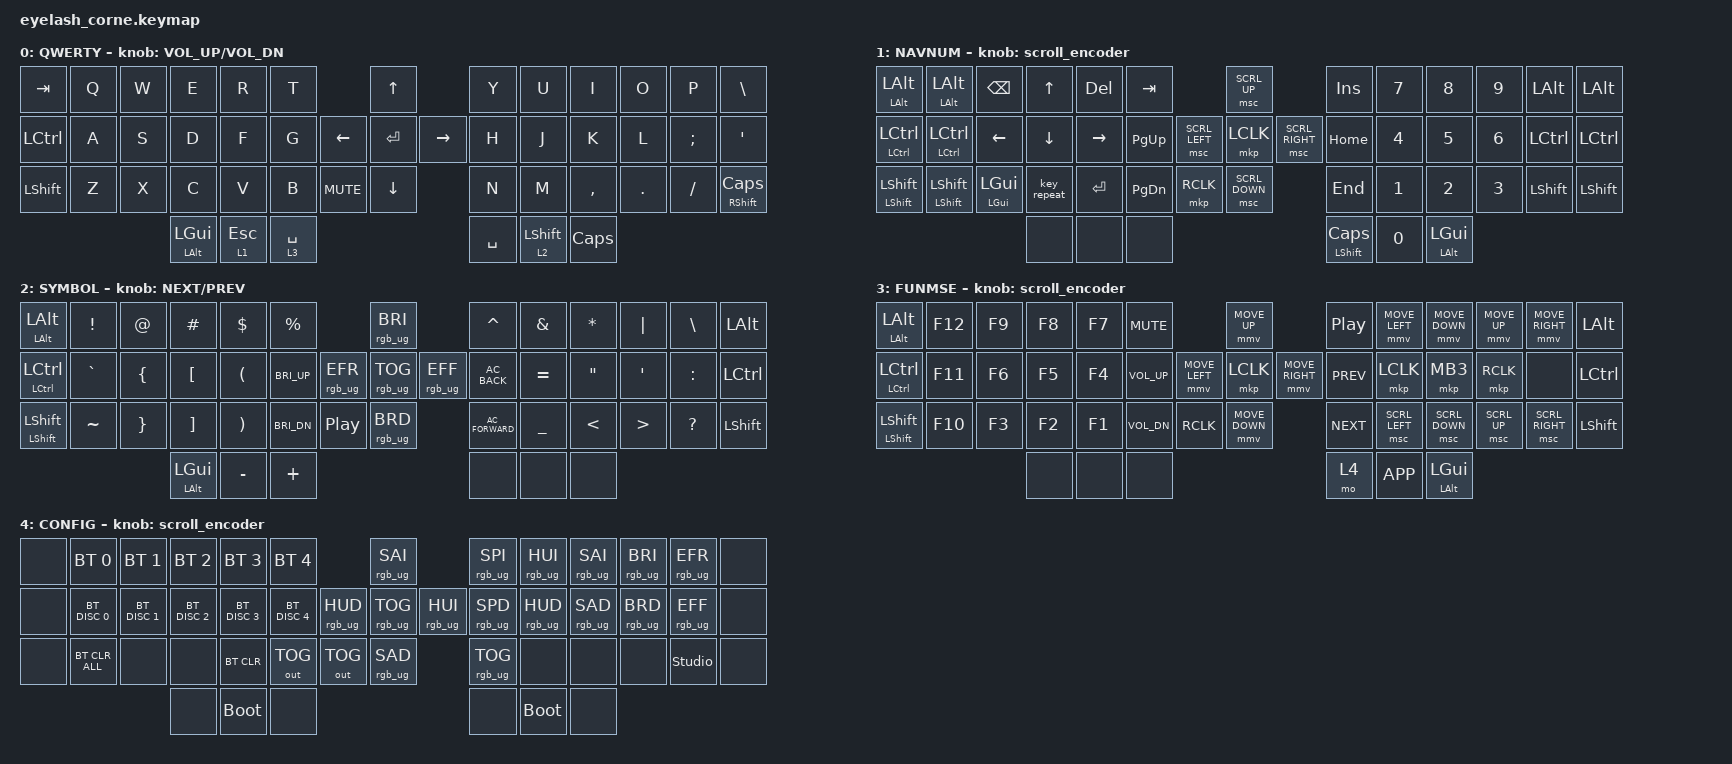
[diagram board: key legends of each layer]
/* spellchecker:disable */
#include <behaviors/mouse_keys.dtsi>
#include <behaviors.dtsi>
#include <dt-bindings/zmk/backlight.h>
#include <dt-bindings/zmk/bt.h>
#include <dt-bindings/zmk/ext_power.h>
#include <dt-bindings/zmk/keys.h>
#include <dt-bindings/zmk/mouse.h>
#include <dt-bindings/zmk/outputs.h>
#include <dt-bindings/zmk/rgb.h>

// #define ZMK_MOUSE_DEFAULT_MOVE_VAL 800  // 600
// #define ZMK_MOUSE_DEFAULT_SCRL_VAL 20   // 10

&lt {
    flavor = "hold-preferred";
};


&sk {
    release-after-ms = <4000>;
    quick-release;
    lazy;
};


/ {
    rgb_encoder: rgb_encoder {
        compatible = "zmk,behavior-sensor-rotate";
        label = "RGB_ENCODER";
        #sensor-binding-cells = <0>;
        bindings = <&rgb_ug RGB_BRI>, <&rgb_ug RGB_BRD>;
    };
    scroll_encoder: scroll_encoder  {
        compatible = "zmk,behavior-sensor-rotate";
        #sensor-binding-cells = <0>;
        bindings = <&msc SCRL_DOWN>, <&msc SCRL_UP>;
        tap-ms = <30>;
    };
    behaviors {
        // mmv {
        //     acceleration-exponent = <0>;      // 1
        //     time-to-max-speed-ms = <900>;    // 40
        //     delay-ms = <0>;                   // 0
        // };
        // msc {
        //     acceleration-exponent = <1>;      // 0      
        //     time-to-max-speed-ms = <400>;      // 500
        //     delay-ms = <0>;                   // 10
        // };
        // lclk_rclk: lclk_rclk    { bindings = <&mkp LCLK>, <&mkp RCLK>; compatible = "zmk,behavior-tap-dance"; #binding-cells = <0>; };
        lsk: layer_sticky_key   { bindings = <&mo>, <&sk>;        compatible = "zmk,behavior-hold-tap"; #binding-cells = <2>; flavor = "hold-preferred"; tapping-term-ms = <200>; };
        lsl: layer_sticky_layer { bindings = <&mo>, <&sl>;        compatible = "zmk,behavior-hold-tap"; #binding-cells = <2>; flavor = "hold-preferred"; tapping-term-ms = <200>; };
        lmk: layer_mouse_key    { bindings = <&mo>, <&mkp>;       compatible = "zmk,behavior-hold-tap"; #binding-cells = <2>; flavor = "hold-preferred"; tapping-term-ms = <200>; };
        lcw: layer_caps_word    { bindings = <&mo>, <&caps_word>; compatible = "zmk,behavior-hold-tap"; #binding-cells = <2>; flavor = "hold-preferred"; tapping-term-ms = <200>; };
        hsk: hold_sticky_key    { bindings = <&kp>, <&sk>;        compatible = "zmk,behavior-hold-tap"; #binding-cells = <2>; flavor = "hold-preferred"; tapping-term-ms = <200>; };
        hsl: hold_sticky_layer  { bindings = <&kp>, <&sl>;        compatible = "zmk,behavior-hold-tap"; #binding-cells = <2>; flavor = "hold-preferred"; tapping-term-ms = <200>; };
        hmk: hold_mouse_key     { bindings = <&kp>, <&mkp>;       compatible = "zmk,behavior-hold-tap"; #binding-cells = <2>; flavor = "hold-preferred"; tapping-term-ms = <200>; };
        hcw: hold_caps_word     { bindings = <&kp>, <&caps_word>; compatible = "zmk,behavior-hold-tap"; #binding-cells = <2>; flavor = "hold-preferred"; tapping-term-ms = <200>; };
    };
    macros {
        win_sleep: win_sleep { wait-ms = <50>; tap-ms = <5>; compatible = "zmk,behavior-macro"; #binding-cells = <0>; bindings = <&kp LG(X) &kp U &kp S>; };
    };
    keymap {
        compatible = "zmk,keymap";
        layer0 {
            display-name = "QWERTY";
            bindings = <
&kp TAB          &kp Q            &kp W            &kp E            &kp R            &kp T                             &kp UP                            &kp Y            &kp U            &kp I            &kp O            &kp P            &kp BSLH
&kp LCTRL        &kp A            &kp S            &kp D            &kp F            &kp G            &kp LEFT         &kp ENTER        &kp RIGHT        &kp H            &kp J            &kp K            &kp L            &kp SEMI         &kp SQT
&kp LSHFT        &kp Z            &kp X            &kp C            &kp V            &kp B            &kp C_MUTE       &kp DOWN                          &kp N            &kp M            &kp COMMA        &kp DOT          &kp FSLH         &hcw RSHFT CAPS
                                                   &hsk LALT LGUI   &lt 1 ESC        &lt 3 SPACE                                                         &kp SPACE        &lsk 2 LSHFT     &kp CAPS >;
            sensor-bindings = <&inc_dec_kp C_VOL_UP C_VOL_DN>;
        };
        layer1 {
            display-name = "NAVNUM";
            bindings = <
&hsk LALT LALT   &hsk LALT LALT   &kp BSPC         &kp UP           &kp DEL          &kp TAB                           &msc SCRL_UP                      &kp INS          &kp N7           &kp N8           &kp N9           &kp LALT         &kp LALT
&hsk LCTRL LCTRL &hsk LCTRL LCTRL &kp LEFT         &kp DOWN         &kp RIGHT        &kp PG_UP        &msc SCRL_LEFT   &mkp LCLK        &msc SCRL_RIGHT  &kp HOME         &kp N4           &kp N5           &kp N6           &kp LCTRL        &kp LCTRL
&hsk LSHFT LSHFT &hsk LSHFT LSHFT &hsk LGUI LGUI   &key_repeat      &kp ENTER        &kp PG_DN        &mkp RCLK        &msc SCRL_DOWN                    &kp END          &kp N1           &kp N2           &kp N3           &kp LSHFT        &kp LSHFT
                                                   &none            &none            &none                                                               &hcw LSHFT CAPS  &kp N0           &hsk LALT LGUI >;
            sensor-bindings = <&scroll_encoder>;
        };
        layer2 {
            display-name = "SYMBOL";
            bindings = <
&hsk LALT LALT   &kp EXCL         &kp AT           &kp POUND        &kp DLLR         &kp PRCNT                         &rgb_ug RGB_BRI                   &kp CARET        &kp AMPS         &kp ASTRK        &kp PIPE         &kp BSLH         &kp LALT
&hsk LCTRL LCTRL &kp GRAVE        &kp LBRC         &kp LBKT         &kp LPAR         &kp C_BRI_UP     &rgb_ug RGB_EFR  &rgb_ug RGB_TOG  &rgb_ug RGB_EFF  &kp C_AC_BACK    &kp EQUAL        &kp DQT          &kp SQT          &kp COLON        &kp LCTRL
&hsk LSHFT LSHFT &kp TILDE        &kp RBRC         &kp RBKT         &kp RPAR         &kp C_BRI_DN     &kp C_PLAY_PAUSE &rgb_ug RGB_BRD                   &kp C_AC_FORWARD &kp UNDER        &kp LT           &kp GT           &kp QMARK        &kp LSHFT
                                                   &hsk LALT LGUI   &kp MINUS        &kp PLUS                                                            &none            &none            &none >;
            sensor-bindings = <&inc_dec_kp C_NEXT C_PREV>;
        };
        layer3 {
            display-name = "FUNMSE";
            bindings = <
&hsk LALT LALT   &kp F12         &kp F9           &kp F8            &kp F7           &kp C_MUTE                        &mmv MOVE_UP                      &kp C_PLAY_PAUSE &mmv MOVE_LEFT   &mmv MOVE_DOWN   &mmv MOVE_UP     &mmv MOVE_RIGHT  &kp LALT
&hsk LCTRL LCTRL &kp F11         &kp F6           &kp F5            &kp F4           &kp C_VOL_UP     &mmv MOVE_LEFT   &mkp LCLK        &mmv MOVE_RIGHT  &kp C_PREV       &mkp LCLK        &mkp MB3         &mkp RCLK        &none            &kp LCTRL
&hsk LSHFT LSHFT &kp F10         &kp F3           &kp F2            &kp F1           &kp C_VOL_DN     &kp RCLK         &mmv MOVE_DOWN                    &kp C_NEXT       &msc SCRL_LEFT   &msc SCRL_DOWN   &msc SCRL_UP     &msc SCRL_RIGHT  &kp LSHFT
                                                  &none             &none            &none                                                               &mo 4            &kp K_APP        &hsk LALT LGUI >;
            sensor-bindings = <&scroll_encoder>;
        };
        layer4 {
            display-name = "CONFIG";
            bindings = <
&none            &bt BT_SEL 0     &bt BT_SEL 1     &bt BT_SEL 2     &bt BT_SEL 3     &bt BT_SEL 4                      &rgb_ug RGB_SAI                   &rgb_ug RGB_SPI  &rgb_ug RGB_HUI  &rgb_ug RGB_SAI  &rgb_ug RGB_BRI  &rgb_ug RGB_EFR  &none
&none            &bt BT_DISC 0    &bt BT_DISC 1    &bt BT_DISC 2    &bt BT_DISC 3    &bt BT_DISC 4    &rgb_ug RGB_HUD  &rgb_ug RGB_TOG  &rgb_ug RGB_HUI  &rgb_ug RGB_SPD  &rgb_ug RGB_HUD  &rgb_ug RGB_SAD  &rgb_ug RGB_BRD  &rgb_ug RGB_EFF  &none
&none            &bt BT_CLR_ALL   &none            &none            &bt BT_CLR       &out OUT_TOG     &out OUT_TOG     &rgb_ug RGB_SAD                   &rgb_ug RGB_TOG  &none            &none            &none            &studio_unlock   &none
                                                   &none            &bootloader      &none                                                               &none            &bootloader      &none >;
            sensor-bindings = <&scroll_encoder>;
        };
    };  
};
